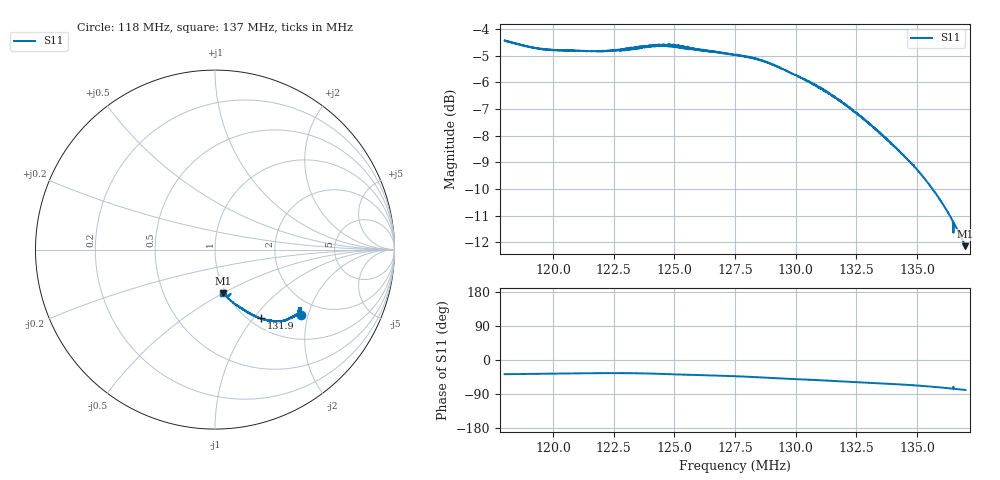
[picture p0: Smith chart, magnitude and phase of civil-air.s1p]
! Calibrated averaged scanner-service zoom
# Hz S RI R 50
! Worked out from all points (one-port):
!   2001 points, 118 MHz to 137 MHz, reference 50 ohm
!   lowest |S11| = -12.1 dB at 137 MHz (marker M1), VSWR 1.66, Z = 48.5 - j25.1 ohm
!   |S11| at or under -10 dB: 135.6 MHz to end of sweep
!   S11 on the Smith chart (normalised r, x): 118 MHz: 1.58, -1.80; 131.9 MHz: 1.12, -1.09; 137 MHz: 0.97, -0.50
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1.18e8  0.4774 -0.3642
1.1914e8  0.467 -0.3482
1.19805e8  0.468 -0.3372
1.20375e8  0.4687 -0.3326
1.21914e8  0.4713 -0.3258
1.2275e8  0.4723 -0.3289
1.233865e8  0.4737 -0.3329
1.240705e8  0.4765 -0.3443
1.245265e8  0.473 -0.3536
1.25125e8  0.4597 -0.3619
1.266545e8  0.432 -0.3765
1.275e8  0.4129 -0.3847
1.281745e8  0.3973 -0.3915
1.28773e8  0.3755 -0.3992
1.29267e8  0.3559 -0.4013
1.29875e8  0.3324 -0.3992
1.31015e8  0.2887 -0.3931
1.31889e8  0.2554 -0.3827
1.3225e8  0.2398 -0.3772
1.335325e8  0.1887 -0.3532
1.34625e8  0.1476 -0.3264
1.352995e8  0.1198 -0.3085
1.358695e8  0.0948 -0.2908
1.36354e8  0.0735 -0.2722
1.36411e8  0.0713 -0.2698
1.366295e8  0.0619 -0.2603
1.36924e8  0.05 -0.2464
1.37e8  0.0469 -0.2424
